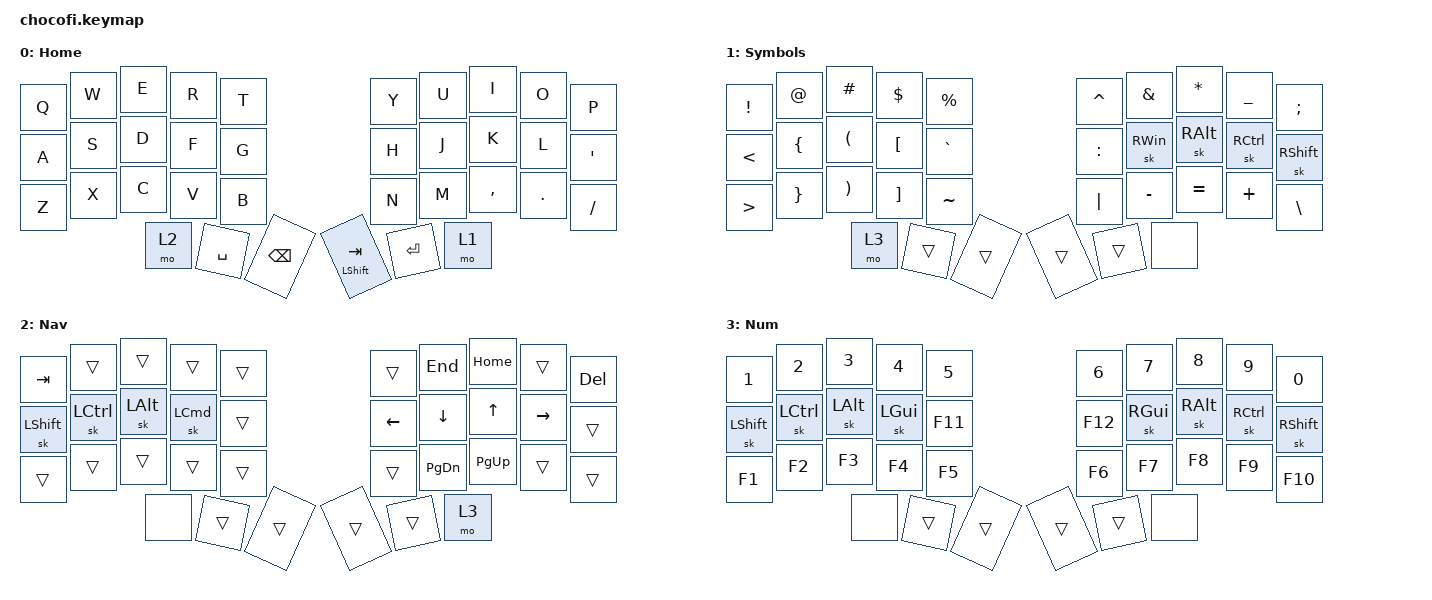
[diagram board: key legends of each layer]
#include <behaviors.dtsi>
#include <dt-bindings/zmk/keys.h>

/ {
    combos {
        compatible = "zmk,combos";

        BSP {
            bindings = <&kp BACKSPACE>;
            key-positions = <7 8>;
        };

        ENT {
            bindings = <&kp ENTER>;
            key-positions = <27 28>;
        };

        ESCAP {
            bindings = <&kp ESCAPE>;
            key-positions = <1 2>;
        };

        TABB {
            bindings = <&kp TAB>;
            key-positions = <21 22>;
        };

        DELL {
            bindings = <&kp DELETE>;
            key-positions = <8 9>;
        };
    };

    keymap {
        compatible = "zmk,keymap";

        home {
            display-name = "Home";

            // -----------------------------------------------------------------------------------------
            // |  Q  |  W  |  E  |  R  |  T  |   |  Y  |  U   |  I  |  O  |  P  |
            // |  A  |  S  |  D  |  F  |  G  |   |  H  |  J   |  K  |  L  |  ;  |
            // |  Z  |  X  |  C  |  V  |  B  |   |  N  |  M   |  ,  |  .  |  /  |
            //             | GUI | LWR | SPC |   | ENT | RSE  | ALT |

            bindings = <
  &kp Q  &kp W  &kp E  &kp R      &kp T            &kp Y               &kp U      &kp I      &kp O    &kp P
  &kp A  &kp S  &kp D  &kp F      &kp G            &kp H               &kp J      &kp K      &kp L    &kp SINGLE_QUOTE
  &kp Z  &kp X  &kp C  &kp V      &kp B            &kp N               &kp M      &kp COMMA  &kp DOT  &kp FSLH
                &mo 2  &kp SPACE  &kp BACKSPACE    &mt LEFT_SHIFT TAB  &kp ENTER  &mo 1
            >;

            label = "Home";
        };

        symbols {
            display-name = "Symbols";

            // -----------------------------------------------------------------------------------------
            // |  1  |  2  |  3  |  4  |  5  |   |  6  |  7  |  8  |  9  |  0  |
            // | BT1 | BT2 | BT3 | BT4 | BT5 |   | LFT | DWN |  UP | RGT |     |
            // |     |     |     |     |     |   |     |     |     |     |     |
            //             | GUI |     | SPC |   | ENT |     | ALT |

            bindings = <
  &kp EXCL          &kp AT           &kp HASH               &kp DOLLAR         &kp PERCENT    &kp CARET  &kp AMPS       &kp ASTRK      &kp UNDER          &kp SEMI
  &kp LESS_THAN     &kp LEFT_BRACE   &kp LEFT_PARENTHESIS   &kp LEFT_BRACKET   &kp GRAVE      &kp COLON  &sk RIGHT_WIN  &sk RIGHT_ALT  &sk RIGHT_CONTROL  &sk RIGHT_SHIFT
  &kp GREATER_THAN  &kp RIGHT_BRACE  &kp RIGHT_PARENTHESIS  &kp RIGHT_BRACKET  &kp TILDE      &kp PIPE   &kp MINUS      &kp EQUAL      &kp PLUS           &kp BACKSLASH
                                     &mo 3                  &trans             &trans         &trans     &trans         &none
            >;
        };

        nav {
            display-name = "Nav";

            // -----------------------------------------------------------------------------------------
            // |  !  |  @  |  #  |  $  |  %  |   |  ^  |  &  |  *  |  (  |  )  |
            // |     |     |     |     |     |   |  -  |  =  |  [  |  ]  |  \  |
            // |     |     |     |     |     |   |  _  |  +  |  {  |  }  | "|" |
            //             | GUI |     | SPC |   | ENT |     | ALT |

            bindings = <
  &kp TAB         &trans     &trans        &trans            &trans    &trans    &kp END        &kp HOME     &trans     &kp DELETE
  &sk LEFT_SHIFT  &sk LCTRL  &sk LEFT_ALT  &sk LEFT_COMMAND  &trans    &kp LEFT  &kp DOWN       &kp UP       &kp RIGHT  &trans
  &trans          &trans     &trans        &trans            &trans    &trans    &kp PAGE_DOWN  &kp PAGE_UP  &trans     &trans
                             &none         &trans            &trans    &trans    &trans         &mo 3
            >;
        };

        num {
            bindings = <
  &kp N1     &kp N2     &kp N3    &kp N4    &kp N5     &kp N6   &kp N7    &kp N8    &kp N9     &kp N0
  &sk LSHFT  &sk LCTRL  &sk LALT  &sk LGUI  &kp F11    &kp F12  &sk RGUI  &sk RALT  &sk RCTRL  &sk RSHFT
  &kp F1     &kp F2     &kp F3    &kp F4    &kp F5     &kp F6   &kp F7    &kp F8    &kp F9     &kp F10
                        &none     &trans    &trans     &trans   &trans    &none
            >;

            label = "Num";
        };
    };
};
